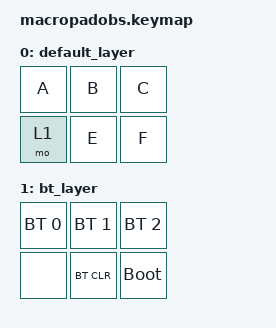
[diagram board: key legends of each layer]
#include <behaviors.dtsi>
#include <dt-bindings/zmk/keys.h>
#include <dt-bindings/zmk/bt.h>

/ {
    keymap {
        compatible = "zmk,keymap";

        default_layer {
// ----------------------------------------------
// |      A      |        B       |      C      |
// |    &mo 1    |        E       |      F      |
            bindings = <
                &kp A   &kp B   &kp C
                &mo 1   &kp E   &kp F
            >;
        };
        bt_layer {
// ----------------------------------------------
// |  BT_SEL 0   |   BT_SEL 1     |   BT_SEL 2  |
// |    none     |   BT_CLR       |  bootloader |
            bindings = <
                &bt BT_SEL 0   &bt BT_SEL 1   &bt BT_SEL 2
                &none          &bt BT_CLR     &bootloader
            >;
        };
    };
};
